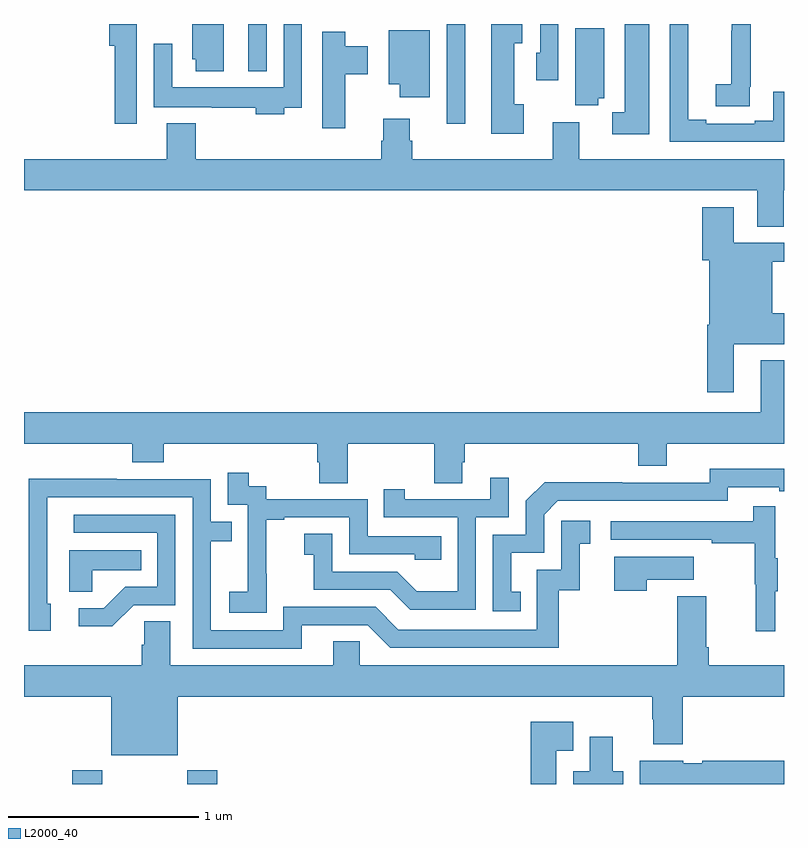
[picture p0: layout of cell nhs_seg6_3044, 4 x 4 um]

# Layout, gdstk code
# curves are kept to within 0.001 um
import gdstk
lib = gdstk.Library(unit=1e-6, precision=1e-09)
def R(c, l, rs):  # rectangles x0, y0, x1, y1
    for r in rs: c.add(gdstk.rectangle(r[:2], r[2:], *l))
def P(c, l, *ps):  # polygons
    for p in ps: c.add(gdstk.Polygon(p, *l))
L2000_40 = (2000, 40)

nhs_seg6_3044 = lib.new_cell('nhs_seg6_3044')
R(nhs_seg6_3044, L2000_40, [(289.253,989.5,289.413,989.572), (289.858,989.5,290.018,989.572), (291.225,992.976,291.322,993.5), (290.18,993.251,290.277,993.5)])
P(nhs_seg6_3044, L2000_40, [(293,993.143),(292.944,993.143),(292.944,992.99),(292.847,992.99),(292.847,992.976),(292.591,992.976),(292.591,992.996),(292.495,992.996),(292.495,993.259),(292.497,993.259),(292.497,993.5),(292.398,993.5),(292.398,992.88),(293,992.88)],
  [(289.593,993.5),(289.448,993.5),(289.448,993.386),(289.477,993.386),(289.477,992.976),(289.593,992.976)],
  [(292.291,993.5),(292.163,993.5),(292.163,993.036),(292.095,993.036),(292.095,992.921),(292.291,992.921)],
  [(290.05,993.5),(289.886,993.5),(289.886,993.315),(289.904,993.315),(289.904,993.252),(290.05,993.252)],
  [(291.631,993.078),(291.58,993.078),(291.58,993.398),(291.622,993.398),(291.622,993.5),(291.458,993.5),(291.458,992.922),(291.631,992.922)],
  [(291.813,993.5),(291.717,993.5),(291.717,993.348),(291.696,993.348),(291.696,993.204),(291.813,993.204)],
  [(292.82,993.169),(292.826,993.169),(292.826,993.5),(292.724,993.5),(292.724,993.465),(292.723,993.465),(292.723,993.182),(292.641,993.182),(292.641,993.067),(292.82,993.067)],
  [(290.371,993.06),(290.463,993.06),(290.463,993.5),(290.367,993.5),(290.367,993.166),(289.779,993.166),(289.779,993.397),(289.683,993.397),(289.683,993.062),(289.987,993.062),(289.987,993.06),(290.219,993.06),(290.219,993.026),(290.371,993.026)],
  [(292.022,993.11),(292.054,993.11),(292.054,993.478),(291.902,993.478),(291.902,993.073),(292.022,993.073)],
  [(291.136,993.466),(290.921,993.466),(290.921,993.182),(290.978,993.182),(290.978,993.114),(291.136,993.114)],
  [(290.692,993.235),(290.809,993.235),(290.809,993.382),(290.692,993.382),(290.692,993.46),(290.57,993.46),(290.57,992.952),(290.692,992.952)],
  [(292.999,992.624),(293,992.624),(293,992.788),(291.922,992.788),(291.922,992.983),(291.782,992.983),(291.782,992.788),(291.044,992.788),(291.044,992.886),(291.031,992.886),(291.031,993.001),(290.891,993.001),(290.891,992.886),(290.879,992.886),(290.879,992.788),(289.904,992.788),(289.904,992.977),(289.751,992.977),(289.751,992.788),(289,992.788),(289,992.624),(292.859,992.624),(292.859,992.434),(292.999,992.434)],
  [(292.735,991.814),(293,991.814),(293,991.978),(292.939,991.978),(292.939,992.248),(293,992.248),(293,992.349),(292.735,992.349),(292.735,992.536),(292.571,992.536),(292.571,992.256),(292.607,992.256),(292.607,991.918),(292.595,991.918),(292.595,991.563),(292.735,991.563)],
  [(290.703,991.292),(291.16,991.292),(291.16,991.084),(291.307,991.084),(291.307,991.194),(291.32,991.194),(291.32,991.292),(292.232,991.292),(292.232,991.175),(292.384,991.175),(292.384,991.292),(293,991.292),(293,991.729),(292.877,991.729),(292.877,991.456),(289,991.456),(289,991.292),(289.571,991.292),(289.571,991.193),(289.736,991.193),(289.736,991.292),(290.543,991.292),(290.543,991.194),(290.555,991.194),(290.555,991.084),(290.703,991.084)],
  [(291.614,990.513),(291.565,990.513),(291.565,990.717),(291.738,990.717),(291.738,990.918),(291.81,990.99),(292.704,990.99),(292.704,991.062),(292.976,991.062),(292.976,991.042),(293,991.042),(293,991.158),(292.608,991.159),(292.608,991.086),(292.148,991.086),(292.148,991.088),(291.74,991.088),(291.642,990.99),(291.642,990.813),(291.468,990.813),(291.468,990.408),(291.614,990.408)],
  [(290.277,990.607),(290.276,990.607),(290.276,990.891),(290.371,990.891),(290.371,990.903),(290.712,990.903),(290.712,990.708),(291.057,990.708),(291.057,990.681),(291.197,990.681),(291.197,990.804),(290.808,990.804),(290.808,990.999),(290.274,990.999),(290.274,991.068),(290.182,991.068),(290.182,991.138),(290.073,991.138),(290.073,990.969),(290.178,990.969),(290.178,990.74),(290.177,990.74),(290.177,990.511),(290.079,990.511),(290.079,990.401),(290.277,990.401)],
  [(291.378,990.903),(291.552,990.903),(291.552,991.111),(291.455,991.111),(291.455,990.999),(291.004,990.999),(291.004,991.051),(290.893,991.051),(290.893,990.903),(291.282,990.903),(291.282,990.514),(291.068,990.514),(290.964,990.618),(290.622,990.618),(290.622,990.817),(290.475,990.817),(290.475,990.707),(290.524,990.707),(290.524,990.522),(290.927,990.522),(291.032,990.417),(291.378,990.417)],
  [(290.461,990.336),(290.808,990.336),(290.928,990.216),(291.815,990.216),(291.815,990.519),(291.926,990.519),(291.926,990.765),(291.979,990.765),(291.979,990.886),(291.828,990.886),(291.828,990.627),(291.699,990.627),(291.699,990.312),(290.97,990.312),(290.85,990.432),(290.364,990.432),(290.364,990.309),(289.983,990.309),(289.983,990.778),(290.093,990.778),(290.093,990.879),(289.983,990.879),(289.983,991.104),(289.487,991.104),(289.487,991.106),(289.024,991.106),(289.024,990.799),(289.026,990.799),(289.026,990.306),(289.141,990.306),(289.141,990.45),(289.122,990.45),(289.122,991.008),(289.887,991.008),(289.887,990.213),(290.461,990.213)],
  [(292.955,990.515),(292.966,990.515),(292.966,990.689),(292.955,990.689),(292.955,990.961),(292.837,990.961),(292.837,990.882),(292.089,990.882),(292.089,990.786),(292.621,990.786),(292.621,990.766),(292.845,990.766),(292.845,990.552),(292.852,990.552),(292.852,990.303),(292.955,990.303)],
  [(289.578,990.441),(289.797,990.441),(289.797,990.918),(289.263,990.918),(289.263,990.822),(289.701,990.822),(289.701,990.537),(289.532,990.537),(289.421,990.426),(289.287,990.426),(289.287,990.329),(289.465,990.329)],
  [(289.359,990.626),(289.616,990.626),(289.616,990.73),(289.238,990.73),(289.238,990.511),(289.359,990.511)],
  [(292.277,990.575),(292.525,990.575),(292.525,990.697),(292.106,990.697),(292.106,990.516),(292.277,990.516)],
  [(289.632,990.356),(289.632,990.233),(289.619,990.233),(289.619,990.124),(289,990.124),(289,989.96),(289.46,989.96),(289.46,989.651),(289.81,989.651),(289.81,989.96),(292.306,989.96),(292.306,989.84),(292.313,989.84),(292.313,989.708),(292.466,989.708),(292.466,989.96),(293,989.96),(293,990.124),(292.604,990.124),(292.604,990.22),(292.591,990.22),(292.591,990.487),(292.439,990.487),(292.439,990.124),(290.766,990.124),(290.766,990.251),(290.627,990.251),(290.627,990.124),(289.771,990.124),(289.771,990.356)],
  [(291.802,989.675),(291.892,989.675),(291.892,989.827),(291.668,989.827),(291.668,989.5),(291.802,989.5)],
  [(292.153,989.566),(292.099,989.566),(292.099,989.749),(291.977,989.749),(291.977,989.566),(291.89,989.566),(291.89,989.5),(292.153,989.5)],
  [(293,989.623),(292.57,989.623),(292.57,989.61),(292.47,989.61),(292.47,989.623),(292.241,989.623),(292.241,989.5),(293,989.5)])

lib.write_gds('nhs_seg6_3044.gds')
